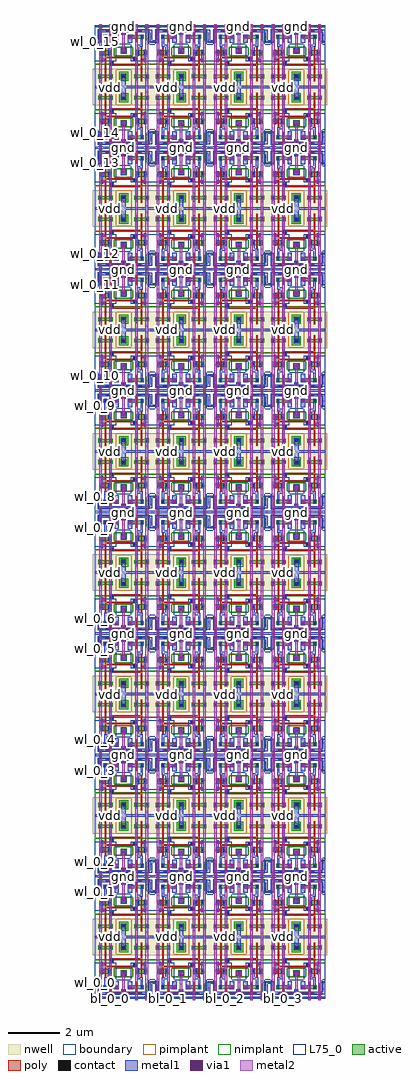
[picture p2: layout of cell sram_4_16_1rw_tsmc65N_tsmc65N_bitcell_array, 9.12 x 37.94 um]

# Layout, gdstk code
import gdstk
lib = gdstk.Library(unit=1e-6, precision=1e-09)
def R(c, l, rs):  # rectangles x0, y0, x1, y1
    for r in rs: c.add(gdstk.rectangle(r[:2], r[2:], *l))
def A(c, l, x, y, w, h, nx, ny, dx, dy):  # array of equal rectangles
    R(c, l, [(x+i*dx, y+j*dy, x+i*dx+w, y+j*dy+h) for i in range(nx) for j in range(ny)])
def P(c, l, *ps):  # polygons
    for p in ps: c.add(gdstk.Polygon(p, *l))
nwell = (3, 0)
active = (6, 0)
poly = (17, 0)
pimplant = (25, 0)
nimplant = (26, 0)
contact = (30, 0)
metal1 = (31, 0)
metal2 = (32, 0)
via1 = (51, 0)
L75_0 = (75, 0)
boundary = (108, 0)

cell_1rw = lib.new_cell('cell_1rw')
R(cell_1rw, nwell, [(-0.08,1.65,0.92,2.24), (0.885,1.65,1.355,2.24), (1.32,1.65,2.32,2.24), (0.885,1.71,1.355,2.18), (-0.08,2.24,2.32,2.36)])
A(cell_1rw, active, 0.55, 1.87, 0.15, 0.15, 3, 1, 0.495, 0)
R(cell_1rw, active, [(0.34,0.33,0.49,0.48), (0.75,0.33,0.9,0.48), (1.34,0.33,1.49,0.48), (1.75,0.33,1.9,0.48), (0.34,0.34,0.59,0.475), (0.59,0.34,0.65,0.475), (0.65,0.34,0.9,0.475), (1.34,0.34,1.59,0.475), (1.59,0.34,1.65,0.475), (1.65,0.34,1.9,0.475), (1.005,0.835,1.24,1.07), (1.035,0.865,1.205,1.035), (0.215,0.925,0.39,1.13), (0.39,0.925,0.45,1.13), (0.45,0.925,0.625,1.13), (1.615,0.925,1.79,1.13), (1.79,0.925,1.85,1.13), (1.85,0.925,2.025,1.13), (1.005,1.825,1.24,2.06), (0.14,1.86,0.29,1.87), (0.155,1.86,0.275,2.03), (1.95,1.86,2.1,1.87), (1.965,1.86,2.085,2.03), (0.14,1.87,0.29,2.02), (1.95,1.87,2.1,2.02), (0.14,1.885,0.39,2.005), (0.39,1.885,0.45,2.005), (0.45,1.885,0.7,2.005), (1.54,1.885,1.79,2.005), (1.79,1.885,1.85,2.005), (1.85,1.885,2.1,2.005), (0.14,2.02,0.29,2.03), (1.95,2.02,2.1,2.03)])
R(cell_1rw, poly, [(0.42,0.155,1.82,0.215), (1.03,0.155,1.2,0.325), (0.59,0.2,0.65,0.34), (1.59,0.2,1.65,0.34), (0.59,0.34,0.65,0.475), (1.59,0.34,1.65,0.475), (0.59,0.475,0.65,0.615), (1.59,0.475,1.65,0.615), (0.39,0.785,0.45,0.925), (1.79,0.785,1.85,0.925), (0.39,0.925,0.45,1.13), (1.79,0.925,1.85,1.13), (0.39,1.13,0.45,1.27), (1.79,1.13,1.85,1.27), (0.39,1.18,1.57,1.24), (1.475,1.18,1.645,1.35), (0.39,1.25,0.45,1.985), (1.79,1.27,1.85,1.985), (0.57,1.36,0.74,1.53), (1.79,1.425,1.85,1.485), (0.67,1.47,1.85,1.53), (0.39,1.745,0.45,1.885), (1.79,1.745,1.85,1.885), (0.39,1.885,0.45,2.005), (1.79,1.885,1.85,2.005), (0.39,2.005,0.45,2.145), (1.79,2.005,1.85,2.145)])
R(cell_1rw, pimplant, [(0.755,0.815,1.485,1.14), (1.015,0.845,1.225,1.055), (0.01,1.47,2.25,1.68), (0.01,1.545,0.83,2.345), (1.41,1.545,2.23,2.345), (2.23,1.545,2.25,2.345), (0.01,2.345,0.83,2.36), (1.41,2.345,2.25,2.36)])
R(cell_1rw, nimplant, [(0.21,0,1.03,0.815), (1.03,0,1.21,0.815), (1.21,0,2.03,0.815), (0,0.585,0.085,1.47), (0.085,0.585,0.755,1.47), (1.485,0.585,2.155,1.47), (2.155,0.585,2.24,1.47), (0.74,1.14,1.645,1.47), (0.945,1.77,1.295,2.12), (1.025,1.85,1.215,2.04), (1.025,1.85,1.215,2.04)])
A(cell_1rw, contact, 0.58, 1.9, 0.09, 0.09, 3, 1, 0.495, 0)
R(cell_1rw, contact, [(1.07,0.195,1.16,0.285), (0.37,0.365,0.46,0.455), (0.78,0.365,0.87,0.455), (1.37,0.365,1.46,0.455), (1.78,0.365,1.87,0.455), (1.075,0.905,1.165,0.995), (0.245,0.98,0.335,1.07), (0.505,0.98,0.595,1.07), (1.645,0.98,1.735,1.07), (1.905,0.98,1.995,1.07), (1.515,1.22,1.605,1.31), (0.61,1.4,0.7,1.49), (0.17,1.9,0.26,1.99), (0.17,1.9,0.26,1.99), (1.98,1.9,2.07,1.99), (1.98,1.9,2.07,1.99)])
A(cell_1rw, metal1, 0.13, -0.05, 0.18, 0.1, 3, 1, 0.9, 0)
R(cell_1rw, metal1, [(0,-0.045,0.09,0.045), (0,-0.045,2.24,0.045), (0,-0.045,2.24,0.045), (2.15,0.14,2.24,0.23), (1.03,0.155,1.2,0.325), (0.775,0.32,0.94,0.645), (0.775,0.32,0.875,0.5), (1.29,0.32,1.465,0.645), (1.365,0.32,1.465,0.5), (0.37,0.325,0.46,0.495), (0.78,0.325,0.87,0.495), (1.37,0.325,1.46,0.495), (1.78,0.325,1.87,0.495), (0,0.545,0.065,0.635), (0,0.545,0.065,0.635), (1.015,0.845,1.225,1.055), (1.07,0.86,1.17,1.04), (0.24,0.915,0.34,1.355), (0.245,0.915,0.335,1.14), (0.505,0.915,0.595,1.14), (0.58,0.915,0.67,2.01), (1.57,0.915,1.66,2.1), (1.645,0.915,1.735,1.14), (1.905,0.915,1.995,1.14), (0.24,0.935,0.34,1.115), (1.905,1.14,1.995,1.355), (1.475,1.18,1.645,1.35), (0.24,1.22,0.34,1.4), (1.9,1.22,2,1.4), (0.57,1.36,0.74,1.53), (0.17,1.86,0.26,2.03), (0.17,1.86,0.26,2.03), (0.17,1.86,0.27,2.41), (0.58,1.86,0.67,2.03), (1.035,1.86,1.205,2.03), (1.57,1.86,1.66,2.03), (1.98,1.86,2.07,2.03), (1.98,1.86,2.07,2.03), (1.035,1.97,1.205,2.41), (0,2.31,1.205,2.41), (0,2.31,1.205,2.41), (1.97,2.31,2.24,2.41), (0,2.315,0.09,2.405)])
P(cell_1rw, metal1, [(0.065,0.545),(0.15,0.545),(0.15,0.14),(2.24,0.14),(2.24,0.635),(2.15,0.635),(2.15,0.23),(0.24,0.23),(0.24,0.635),(0.065,0.635)],
  [(0.46,0.495),(0.46,0.71),(0.595,0.71),(0.595,0.915),(0.505,0.915),(0.505,0.8),(0.37,0.8),(0.37,0.495)],
  [(1.035,2.31),(1.97,2.31),(1.97,1.86),(2.07,1.86),(2.07,2.41),(1.035,2.41)],
  [(1.645,0.915),(1.645,0.71),(1.78,0.71),(1.78,0.495),(1.87,0.495),(1.87,0.8),(1.735,0.8),(1.735,0.915)])
A(cell_1rw, metal2, 0.17, -0.09, 0.1, 0.18, 3, 1, 0.9, 0)
R(cell_1rw, metal2, [(0.17,-0.09,0.27,2.41), (0.57,-0.09,0.67,0.01), (0.57,-0.09,0.67,0.01), (1.07,-0.09,1.17,0.91), (1.57,-0.09,1.67,0.01), (1.57,-0.09,1.67,0.46), (1.57,-0.09,1.67,0.46), (1.97,-0.09,2.07,1.075), (0.57,0.36,0.67,2.41), (0.735,0.36,0.915,0.46), (1.325,0.36,1.505,0.46), (1.07,0.85,1.17,0.91), (1.03,0.9,1.21,1), (0.2,0.975,0.38,1.075), (0.2,1.26,0.38,1.36), (1.86,1.26,2.04,1.36)])
P(cell_1rw, metal2, [(0.67,-0.09),(0.67,0.36),(0.825,0.36),(0.825,0.46),(0.57,0.46),(0.57,-0.09)],
  [(1.415,0.36),(1.67,0.36),(1.67,2.41),(1.57,2.41),(1.57,0.46),(1.415,0.46)],
  [(1.985,0.975),(2.07,0.975),(2.07,2.41),(1.97,2.41),(1.97,1.075),(1.985,1.075)])
A(cell_1rw, via1, 0.17, -0.05, 0.1, 0.1, 3, 1, 0.9, 0)
R(cell_1rw, via1, [(0.775,0.36,0.875,0.46), (1.365,0.36,1.465,0.46), (1.07,0.9,1.17,1), (0.24,0.975,0.34,1.075), (0.24,1.26,0.34,1.36), (1.9,1.26,2,1.36)])
R(cell_1rw, L75_0, [(0.12,0.115,1.12,0.705), (1.12,0.115,2.12,0.705), (-0.005,0.705,0.845,1.35), (1.395,0.705,2.245,1.35), (1.015,0.845,1.225,1.055)])
R(cell_1rw, boundary, [(0,0,2.24,2.36)])
cell_1rw.add(gdstk.Label('wl', (0.01,0.585), layer=31, texttype=0))
cell_1rw.add(gdstk.Label('gnd', (0.045,0), layer=31, texttype=0))
cell_1rw.add(gdstk.Label('vdd', (0.045,2.36), layer=31, texttype=0))
cell_1rw.add(gdstk.Label('[@instanceName]', (0.42,1.945), layer=127, texttype=0))
cell_1rw.add(gdstk.Label('pch\n0.12/0.06\n', (0.39,1.885), layer=127, texttype=0))
cell_1rw.add(gdstk.Label('D', (0.625,1.945), layer=127, texttype=0))
cell_1rw.add(gdstk.Label('S', (0.215,1.945), layer=127, texttype=0))
cell_1rw.add(gdstk.Label('[@instanceName]', (1.82,1.945), layer=127, texttype=0))
cell_1rw.add(gdstk.Label('pch\n0.12/0.06\n', (1.85,1.885), layer=127, texttype=0))
cell_1rw.add(gdstk.Label('D', (1.615,1.945), layer=127, texttype=0))
cell_1rw.add(gdstk.Label('S', (2.025,1.945), layer=127, texttype=0))
cell_1rw.add(gdstk.Label('[@instanceName]', (1.62,0.407), layer=127, texttype=0))
cell_1rw.add(gdstk.Label('nch\n0.135/0.06\n', (1.65,0.34), layer=127, texttype=0))
cell_1rw.add(gdstk.Label('D', (1.415,0.41), layer=127, texttype=0))
cell_1rw.add(gdstk.Label('S', (1.825,0.41), layer=127, texttype=0))
cell_1rw.add(gdstk.Label('[@instanceName]', (0.62,0.407), layer=127, texttype=0))
cell_1rw.add(gdstk.Label('nch\n0.135/0.06\n', (0.59,0.34), layer=127, texttype=0))
cell_1rw.add(gdstk.Label('D', (0.825,0.41), layer=127, texttype=0))
cell_1rw.add(gdstk.Label('S', (0.415,0.41), layer=127, texttype=0))
cell_1rw.add(gdstk.Label('[@instanceName]', (0.42,1.027), layer=127, texttype=0))
cell_1rw.add(gdstk.Label('nch\n0.205/0.06\n', (0.39,0.925), layer=127, texttype=0))
cell_1rw.add(gdstk.Label('D', (0.55,1.027), layer=127, texttype=0))
cell_1rw.add(gdstk.Label('S', (0.29,1.027), layer=127, texttype=0))
cell_1rw.add(gdstk.Label('[@instanceName]', (1.82,1.027), layer=127, texttype=0))
cell_1rw.add(gdstk.Label('nch\n0.205/0.06\n', (1.85,0.925), layer=127, texttype=0))
cell_1rw.add(gdstk.Label('D', (1.69,1.027), layer=127, texttype=0))
cell_1rw.add(gdstk.Label('S', (1.95,1.027), layer=127, texttype=0))
cell_1rw.add(gdstk.Label('& SerialNumber 000000', (0.39,1.885), layer=63, texttype=63))
cell_1rw.add(gdstk.Label('& Distributor TSMC', (0.39,1.885), layer=63, texttype=63))
cell_1rw.add(gdstk.Label('& Metric 1', (0.39,1.885), layer=63, texttype=63))
cell_1rw.add(gdstk.Label('& PDK Version "tsmcN65_DTQ::RWg\\177;oCnm~vw{v}v\\202_20120815"', (0.39,1.885), layer=63, texttype=63))
cell_1rw.add(gdstk.Label('& PDK TechNode "CRN65LP"', (0.39,1.885), layer=63, texttype=63))
cell_1rw.add(gdstk.Label('& Product    tsmcN65_PDK', (0.39,1.885), layer=63, texttype=63))
cell_1rw.add(gdstk.Label('& Vendor     Taiwan Semiconductor manufacturing Corp.', (0.39,1.885), layer=63, texttype=63))
cell_1rw.add(gdstk.Label('& SerialNumber 000000', (1.85,1.885), layer=63, texttype=63))
cell_1rw.add(gdstk.Label('& Distributor TSMC', (1.85,1.885), layer=63, texttype=63))
cell_1rw.add(gdstk.Label('& Metric 1', (1.85,1.885), layer=63, texttype=63))
cell_1rw.add(gdstk.Label('& PDK Version "tsmcN65_DTQ::RWg\\177;oCnm~vw{v}v\\202_20120815"', (1.85,1.885), layer=63, texttype=63))
cell_1rw.add(gdstk.Label('& PDK TechNode "CRN65LP"', (1.85,1.885), layer=63, texttype=63))
cell_1rw.add(gdstk.Label('& Product    tsmcN65_PDK', (1.85,1.885), layer=63, texttype=63))
cell_1rw.add(gdstk.Label('& Vendor     Taiwan Semiconductor manufacturing Corp.', (1.85,1.885), layer=63, texttype=63))
cell_1rw.add(gdstk.Label('& SerialNumber 000000', (1.65,0.34), layer=63, texttype=63))
cell_1rw.add(gdstk.Label('& Distributor TSMC', (1.65,0.34), layer=63, texttype=63))
cell_1rw.add(gdstk.Label('& Metric 1', (1.65,0.34), layer=63, texttype=63))
cell_1rw.add(gdstk.Label('& PDK Version "tsmcN65_DTQ::RWg\\177;oCnm~vw{v}v\\202_20120815"', (1.65,0.34), layer=63, texttype=63))
cell_1rw.add(gdstk.Label('& PDK TechNode "CRN65LP"', (1.65,0.34), layer=63, texttype=63))
cell_1rw.add(gdstk.Label('& Product    tsmcN65_PDK', (1.65,0.34), layer=63, texttype=63))
cell_1rw.add(gdstk.Label('& Vendor     Taiwan Semiconductor manufacturing Corp.', (1.65,0.34), layer=63, texttype=63))
cell_1rw.add(gdstk.Label('& SerialNumber 000000', (0.59,0.34), layer=63, texttype=63))
cell_1rw.add(gdstk.Label('& Distributor TSMC', (0.59,0.34), layer=63, texttype=63))
cell_1rw.add(gdstk.Label('& Metric 1', (0.59,0.34), layer=63, texttype=63))
cell_1rw.add(gdstk.Label('& PDK Version "tsmcN65_DTQ::RWg\\177;oCnm~vw{v}v\\202_20120815"', (0.59,0.34), layer=63, texttype=63))
cell_1rw.add(gdstk.Label('& PDK TechNode "CRN65LP"', (0.59,0.34), layer=63, texttype=63))
cell_1rw.add(gdstk.Label('& Product    tsmcN65_PDK', (0.59,0.34), layer=63, texttype=63))
cell_1rw.add(gdstk.Label('& Vendor     Taiwan Semiconductor manufacturing Corp.', (0.59,0.34), layer=63, texttype=63))
cell_1rw.add(gdstk.Label('& SerialNumber 000000', (0.39,0.925), layer=63, texttype=63))
cell_1rw.add(gdstk.Label('& Distributor TSMC', (0.39,0.925), layer=63, texttype=63))
cell_1rw.add(gdstk.Label('& Metric 1', (0.39,0.925), layer=63, texttype=63))
cell_1rw.add(gdstk.Label('& PDK Version "tsmcN65_DTQ::RWg\\177;oCnm~vw{v}v\\202_20120815"', (0.39,0.925), layer=63, texttype=63))
cell_1rw.add(gdstk.Label('& PDK TechNode "CRN65LP"', (0.39,0.925), layer=63, texttype=63))
cell_1rw.add(gdstk.Label('& Product    tsmcN65_PDK', (0.39,0.925), layer=63, texttype=63))
cell_1rw.add(gdstk.Label('& Vendor     Taiwan Semiconductor manufacturing Corp.', (0.39,0.925), layer=63, texttype=63))
cell_1rw.add(gdstk.Label('& SerialNumber 000000', (1.85,0.925), layer=63, texttype=63))
cell_1rw.add(gdstk.Label('& Distributor TSMC', (1.85,0.925), layer=63, texttype=63))
cell_1rw.add(gdstk.Label('& Metric 1', (1.85,0.925), layer=63, texttype=63))
cell_1rw.add(gdstk.Label('& PDK Version "tsmcN65_DTQ::RWg\\177;oCnm~vw{v}v\\202_20120815"', (1.85,0.925), layer=63, texttype=63))
cell_1rw.add(gdstk.Label('& PDK TechNode "CRN65LP"', (1.85,0.925), layer=63, texttype=63))
cell_1rw.add(gdstk.Label('& Product    tsmcN65_PDK', (1.85,0.925), layer=63, texttype=63))
cell_1rw.add(gdstk.Label('& Vendor     Taiwan Semiconductor manufacturing Corp.', (1.85,0.925), layer=63, texttype=63))
cell_1rw.add(gdstk.Label('bl', (0.62,-0.04), layer=32, texttype=0))
cell_1rw.add(gdstk.Label('br', (1.62,-0.04), layer=32, texttype=0))
cell_1rw.add(gdstk.Label('bl', (0.62,-0.04), layer=32, texttype=0))
cell_1rw.add(gdstk.Label('br', (1.62,0.185), layer=32, texttype=0))
cell_1rw.add(gdstk.Label('wl', (0.032,0.59), layer=31, texttype=0))
cell_1rw.add(gdstk.Label('vdd', (0.602,2.36), layer=31, texttype=0))
cell_1rw.add(gdstk.Label('gnd', (1.12,0), layer=31, texttype=0))

sram_4_16_1rw_tsmc65n_ts = lib.new_cell('sram_4_16_1rw_tsmc65N_tsmc65N_bitcell_array')
A(sram_4_16_1rw_tsmc65n_ts, metal1, 0, -0.045, 2.24, 0.09, 4, 9, 2.24, 4.72)
A(sram_4_16_1rw_tsmc65n_ts, metal1, 0, 2.31, 1.205, 0.1, 4, 8, 2.24, 4.72)
R(sram_4_16_1rw_tsmc65n_ts, metal1, [(0,0.545,0.065,0.635), (0,4.085,0.065,4.175), (0,5.265,0.065,5.355), (0,8.805,0.065,8.895), (0,9.985,0.065,10.075), (0,13.525,0.065,13.615), (0,14.705,0.065,14.795), (0,18.245,0.065,18.335), (0,19.425,0.065,19.515), (0,22.965,0.065,23.055), (0,24.145,0.065,24.235), (0,27.685,0.065,27.775), (0,28.865,0.065,28.955), (0,32.405,0.065,32.495), (0,33.585,0.065,33.675), (0,37.125,0.065,37.215)])
A(sram_4_16_1rw_tsmc65n_ts, metal2, 0.57, -0.09, 0.1, 0.1, 4, 1, 2.24, 0)
A(sram_4_16_1rw_tsmc65n_ts, metal2, 1.57, -0.09, 0.1, 0.55, 4, 1, 2.24, 0)
R(sram_4_16_1rw_tsmc65n_ts, boundary, [(0,0,8.96,37.76)])
sram_4_16_1rw_tsmc65n_ts.add(gdstk.Reference(cell_1rw, (0,0)))
sram_4_16_1rw_tsmc65n_ts.add(gdstk.Reference(cell_1rw, (0,4.72), x_reflection=True))
sram_4_16_1rw_tsmc65n_ts.add(gdstk.Reference(cell_1rw, (0,4.72)))
sram_4_16_1rw_tsmc65n_ts.add(gdstk.Reference(cell_1rw, (0,9.44), x_reflection=True))
sram_4_16_1rw_tsmc65n_ts.add(gdstk.Reference(cell_1rw, (0,9.44)))
sram_4_16_1rw_tsmc65n_ts.add(gdstk.Reference(cell_1rw, (0,14.16), x_reflection=True))
sram_4_16_1rw_tsmc65n_ts.add(gdstk.Reference(cell_1rw, (0,14.16)))
sram_4_16_1rw_tsmc65n_ts.add(gdstk.Reference(cell_1rw, (0,18.88), x_reflection=True))
sram_4_16_1rw_tsmc65n_ts.add(gdstk.Reference(cell_1rw, (0,18.88)))
sram_4_16_1rw_tsmc65n_ts.add(gdstk.Reference(cell_1rw, (0,23.6), x_reflection=True))
sram_4_16_1rw_tsmc65n_ts.add(gdstk.Reference(cell_1rw, (0,23.6)))
sram_4_16_1rw_tsmc65n_ts.add(gdstk.Reference(cell_1rw, (0,28.32), x_reflection=True))
sram_4_16_1rw_tsmc65n_ts.add(gdstk.Reference(cell_1rw, (0,28.32)))
sram_4_16_1rw_tsmc65n_ts.add(gdstk.Reference(cell_1rw, (0,33.04), x_reflection=True))
sram_4_16_1rw_tsmc65n_ts.add(gdstk.Reference(cell_1rw, (0,33.04)))
sram_4_16_1rw_tsmc65n_ts.add(gdstk.Reference(cell_1rw, (0,37.76), x_reflection=True))
sram_4_16_1rw_tsmc65n_ts.add(gdstk.Reference(cell_1rw, (2.24,0)))
sram_4_16_1rw_tsmc65n_ts.add(gdstk.Reference(cell_1rw, (2.24,4.72), x_reflection=True))
sram_4_16_1rw_tsmc65n_ts.add(gdstk.Reference(cell_1rw, (2.24,4.72)))
sram_4_16_1rw_tsmc65n_ts.add(gdstk.Reference(cell_1rw, (2.24,9.44), x_reflection=True))
sram_4_16_1rw_tsmc65n_ts.add(gdstk.Reference(cell_1rw, (2.24,9.44)))
sram_4_16_1rw_tsmc65n_ts.add(gdstk.Reference(cell_1rw, (2.24,14.16), x_reflection=True))
sram_4_16_1rw_tsmc65n_ts.add(gdstk.Reference(cell_1rw, (2.24,14.16)))
sram_4_16_1rw_tsmc65n_ts.add(gdstk.Reference(cell_1rw, (2.24,18.88), x_reflection=True))
sram_4_16_1rw_tsmc65n_ts.add(gdstk.Reference(cell_1rw, (2.24,18.88)))
sram_4_16_1rw_tsmc65n_ts.add(gdstk.Reference(cell_1rw, (2.24,23.6), x_reflection=True))
sram_4_16_1rw_tsmc65n_ts.add(gdstk.Reference(cell_1rw, (2.24,23.6)))
sram_4_16_1rw_tsmc65n_ts.add(gdstk.Reference(cell_1rw, (2.24,28.32), x_reflection=True))
sram_4_16_1rw_tsmc65n_ts.add(gdstk.Reference(cell_1rw, (2.24,28.32)))
sram_4_16_1rw_tsmc65n_ts.add(gdstk.Reference(cell_1rw, (2.24,33.04), x_reflection=True))
sram_4_16_1rw_tsmc65n_ts.add(gdstk.Reference(cell_1rw, (2.24,33.04)))
sram_4_16_1rw_tsmc65n_ts.add(gdstk.Reference(cell_1rw, (2.24,37.76), x_reflection=True))
sram_4_16_1rw_tsmc65n_ts.add(gdstk.Reference(cell_1rw, (4.48,0)))
sram_4_16_1rw_tsmc65n_ts.add(gdstk.Reference(cell_1rw, (4.48,4.72), x_reflection=True))
sram_4_16_1rw_tsmc65n_ts.add(gdstk.Reference(cell_1rw, (4.48,4.72)))
sram_4_16_1rw_tsmc65n_ts.add(gdstk.Reference(cell_1rw, (4.48,9.44), x_reflection=True))
sram_4_16_1rw_tsmc65n_ts.add(gdstk.Reference(cell_1rw, (4.48,9.44)))
sram_4_16_1rw_tsmc65n_ts.add(gdstk.Reference(cell_1rw, (4.48,14.16), x_reflection=True))
sram_4_16_1rw_tsmc65n_ts.add(gdstk.Reference(cell_1rw, (4.48,14.16)))
sram_4_16_1rw_tsmc65n_ts.add(gdstk.Reference(cell_1rw, (4.48,18.88), x_reflection=True))
sram_4_16_1rw_tsmc65n_ts.add(gdstk.Reference(cell_1rw, (4.48,18.88)))
sram_4_16_1rw_tsmc65n_ts.add(gdstk.Reference(cell_1rw, (4.48,23.6), x_reflection=True))
sram_4_16_1rw_tsmc65n_ts.add(gdstk.Reference(cell_1rw, (4.48,23.6)))
sram_4_16_1rw_tsmc65n_ts.add(gdstk.Reference(cell_1rw, (4.48,28.32), x_reflection=True))
sram_4_16_1rw_tsmc65n_ts.add(gdstk.Reference(cell_1rw, (4.48,28.32)))
sram_4_16_1rw_tsmc65n_ts.add(gdstk.Reference(cell_1rw, (4.48,33.04), x_reflection=True))
sram_4_16_1rw_tsmc65n_ts.add(gdstk.Reference(cell_1rw, (4.48,33.04)))
sram_4_16_1rw_tsmc65n_ts.add(gdstk.Reference(cell_1rw, (4.48,37.76), x_reflection=True))
sram_4_16_1rw_tsmc65n_ts.add(gdstk.Reference(cell_1rw, (6.72,0)))
sram_4_16_1rw_tsmc65n_ts.add(gdstk.Reference(cell_1rw, (6.72,4.72), x_reflection=True))
sram_4_16_1rw_tsmc65n_ts.add(gdstk.Reference(cell_1rw, (6.72,4.72)))
sram_4_16_1rw_tsmc65n_ts.add(gdstk.Reference(cell_1rw, (6.72,9.44), x_reflection=True))
sram_4_16_1rw_tsmc65n_ts.add(gdstk.Reference(cell_1rw, (6.72,9.44)))
sram_4_16_1rw_tsmc65n_ts.add(gdstk.Reference(cell_1rw, (6.72,14.16), x_reflection=True))
sram_4_16_1rw_tsmc65n_ts.add(gdstk.Reference(cell_1rw, (6.72,14.16)))
sram_4_16_1rw_tsmc65n_ts.add(gdstk.Reference(cell_1rw, (6.72,18.88), x_reflection=True))
sram_4_16_1rw_tsmc65n_ts.add(gdstk.Reference(cell_1rw, (6.72,18.88)))
sram_4_16_1rw_tsmc65n_ts.add(gdstk.Reference(cell_1rw, (6.72,23.6), x_reflection=True))
sram_4_16_1rw_tsmc65n_ts.add(gdstk.Reference(cell_1rw, (6.72,23.6)))
sram_4_16_1rw_tsmc65n_ts.add(gdstk.Reference(cell_1rw, (6.72,28.32), x_reflection=True))
sram_4_16_1rw_tsmc65n_ts.add(gdstk.Reference(cell_1rw, (6.72,28.32)))
sram_4_16_1rw_tsmc65n_ts.add(gdstk.Reference(cell_1rw, (6.72,33.04), x_reflection=True))
sram_4_16_1rw_tsmc65n_ts.add(gdstk.Reference(cell_1rw, (6.72,33.04)))
sram_4_16_1rw_tsmc65n_ts.add(gdstk.Reference(cell_1rw, (6.72,37.76), x_reflection=True))
sram_4_16_1rw_tsmc65n_ts.add(gdstk.Label('wl_0_0', (0.032,0.59), layer=31, texttype=0))
sram_4_16_1rw_tsmc65n_ts.add(gdstk.Label('wl_0_1', (0.032,4.13), layer=31, texttype=0))
sram_4_16_1rw_tsmc65n_ts.add(gdstk.Label('wl_0_2', (0.032,5.31), layer=31, texttype=0))
sram_4_16_1rw_tsmc65n_ts.add(gdstk.Label('wl_0_3', (0.032,8.85), layer=31, texttype=0))
sram_4_16_1rw_tsmc65n_ts.add(gdstk.Label('wl_0_4', (0.032,10.03), layer=31, texttype=0))
sram_4_16_1rw_tsmc65n_ts.add(gdstk.Label('wl_0_5', (0.032,13.57), layer=31, texttype=0))
sram_4_16_1rw_tsmc65n_ts.add(gdstk.Label('wl_0_6', (0.032,14.75), layer=31, texttype=0))
sram_4_16_1rw_tsmc65n_ts.add(gdstk.Label('wl_0_7', (0.032,18.29), layer=31, texttype=0))
sram_4_16_1rw_tsmc65n_ts.add(gdstk.Label('wl_0_8', (0.032,19.47), layer=31, texttype=0))
sram_4_16_1rw_tsmc65n_ts.add(gdstk.Label('wl_0_9', (0.032,23.01), layer=31, texttype=0))
sram_4_16_1rw_tsmc65n_ts.add(gdstk.Label('wl_0_10', (0.032,24.19), layer=31, texttype=0))
sram_4_16_1rw_tsmc65n_ts.add(gdstk.Label('wl_0_11', (0.032,27.73), layer=31, texttype=0))
sram_4_16_1rw_tsmc65n_ts.add(gdstk.Label('wl_0_12', (0.032,28.91), layer=31, texttype=0))
sram_4_16_1rw_tsmc65n_ts.add(gdstk.Label('wl_0_13', (0.032,32.45), layer=31, texttype=0))
sram_4_16_1rw_tsmc65n_ts.add(gdstk.Label('wl_0_14', (0.032,33.63), layer=31, texttype=0))
sram_4_16_1rw_tsmc65n_ts.add(gdstk.Label('wl_0_15', (0.032,37.17), layer=31, texttype=0))
sram_4_16_1rw_tsmc65n_ts.add(gdstk.Label('bl_0_0', (0.62,-0.04), layer=32, texttype=0))
sram_4_16_1rw_tsmc65n_ts.add(gdstk.Label('br_0_0', (1.62,0.185), layer=32, texttype=0))
sram_4_16_1rw_tsmc65n_ts.add(gdstk.Label('bl_0_1', (2.86,-0.04), layer=32, texttype=0))
sram_4_16_1rw_tsmc65n_ts.add(gdstk.Label('br_0_1', (3.86,0.185), layer=32, texttype=0))
sram_4_16_1rw_tsmc65n_ts.add(gdstk.Label('bl_0_2', (5.1,-0.04), layer=32, texttype=0))
sram_4_16_1rw_tsmc65n_ts.add(gdstk.Label('br_0_2', (6.1,0.185), layer=32, texttype=0))
sram_4_16_1rw_tsmc65n_ts.add(gdstk.Label('bl_0_3', (7.34,-0.04), layer=32, texttype=0))
sram_4_16_1rw_tsmc65n_ts.add(gdstk.Label('br_0_3', (8.34,0.185), layer=32, texttype=0))
sram_4_16_1rw_tsmc65n_ts.add(gdstk.Label('vdd', (7.322,30.68), layer=31, texttype=0))
sram_4_16_1rw_tsmc65n_ts.add(gdstk.Label('vdd', (5.083,35.4), layer=31, texttype=0))
sram_4_16_1rw_tsmc65n_ts.add(gdstk.Label('vdd', (7.322,21.24), layer=31, texttype=0))
sram_4_16_1rw_tsmc65n_ts.add(gdstk.Label('vdd', (2.843,30.68), layer=31, texttype=0))
sram_4_16_1rw_tsmc65n_ts.add(gdstk.Label('vdd', (7.322,25.96), layer=31, texttype=0))
sram_4_16_1rw_tsmc65n_ts.add(gdstk.Label('vdd', (5.083,11.8), layer=31, texttype=0))
sram_4_16_1rw_tsmc65n_ts.add(gdstk.Label('vdd', (5.083,30.68), layer=31, texttype=0))
sram_4_16_1rw_tsmc65n_ts.add(gdstk.Label('vdd', (7.322,16.52), layer=31, texttype=0))
sram_4_16_1rw_tsmc65n_ts.add(gdstk.Label('vdd', (2.843,11.8), layer=31, texttype=0))
sram_4_16_1rw_tsmc65n_ts.add(gdstk.Label('vdd', (5.083,2.36), layer=31, texttype=0))
sram_4_16_1rw_tsmc65n_ts.add(gdstk.Label('vdd', (0.602,7.08), layer=31, texttype=0))
sram_4_16_1rw_tsmc65n_ts.add(gdstk.Label('vdd', (2.843,25.96), layer=31, texttype=0))
sram_4_16_1rw_tsmc65n_ts.add(gdstk.Label('vdd', (7.322,7.08), layer=31, texttype=0))
sram_4_16_1rw_tsmc65n_ts.add(gdstk.Label('vdd', (2.843,21.24), layer=31, texttype=0))
sram_4_16_1rw_tsmc65n_ts.add(gdstk.Label('vdd', (0.602,2.36), layer=31, texttype=0))
sram_4_16_1rw_tsmc65n_ts.add(gdstk.Label('vdd', (5.083,21.24), layer=31, texttype=0))
sram_4_16_1rw_tsmc65n_ts.add(gdstk.Label('vdd', (7.322,2.36), layer=31, texttype=0))
sram_4_16_1rw_tsmc65n_ts.add(gdstk.Label('vdd', (0.602,30.68), layer=31, texttype=0))
sram_4_16_1rw_tsmc65n_ts.add(gdstk.Label('vdd', (2.843,35.4), layer=31, texttype=0))
sram_4_16_1rw_tsmc65n_ts.add(gdstk.Label('vdd', (0.602,16.52), layer=31, texttype=0))
sram_4_16_1rw_tsmc65n_ts.add(gdstk.Label('vdd', (0.602,25.96), layer=31, texttype=0))
sram_4_16_1rw_tsmc65n_ts.add(gdstk.Label('vdd', (5.083,7.08), layer=31, texttype=0))
sram_4_16_1rw_tsmc65n_ts.add(gdstk.Label('vdd', (0.602,35.4), layer=31, texttype=0))
sram_4_16_1rw_tsmc65n_ts.add(gdstk.Label('vdd', (2.843,2.36), layer=31, texttype=0))
sram_4_16_1rw_tsmc65n_ts.add(gdstk.Label('vdd', (5.083,25.96), layer=31, texttype=0))
sram_4_16_1rw_tsmc65n_ts.add(gdstk.Label('vdd', (5.083,16.52), layer=31, texttype=0))
sram_4_16_1rw_tsmc65n_ts.add(gdstk.Label('vdd', (2.843,16.52), layer=31, texttype=0))
sram_4_16_1rw_tsmc65n_ts.add(gdstk.Label('vdd', (7.322,35.4), layer=31, texttype=0))
sram_4_16_1rw_tsmc65n_ts.add(gdstk.Label('vdd', (0.602,21.24), layer=31, texttype=0))
sram_4_16_1rw_tsmc65n_ts.add(gdstk.Label('vdd', (7.322,11.8), layer=31, texttype=0))
sram_4_16_1rw_tsmc65n_ts.add(gdstk.Label('vdd', (0.602,11.8), layer=31, texttype=0))
sram_4_16_1rw_tsmc65n_ts.add(gdstk.Label('vdd', (2.843,7.08), layer=31, texttype=0))
sram_4_16_1rw_tsmc65n_ts.add(gdstk.Label('gnd', (3.36,0), layer=31, texttype=0))
sram_4_16_1rw_tsmc65n_ts.add(gdstk.Label('gnd', (1.12,37.76), layer=31, texttype=0))
sram_4_16_1rw_tsmc65n_ts.add(gdstk.Label('gnd', (7.84,0), layer=31, texttype=0))
sram_4_16_1rw_tsmc65n_ts.add(gdstk.Label('gnd', (1.12,14.16), layer=31, texttype=0))
sram_4_16_1rw_tsmc65n_ts.add(gdstk.Label('gnd', (3.36,18.88), layer=31, texttype=0))
sram_4_16_1rw_tsmc65n_ts.add(gdstk.Label('gnd', (7.84,37.76), layer=31, texttype=0))
sram_4_16_1rw_tsmc65n_ts.add(gdstk.Label('gnd', (7.84,9.44), layer=31, texttype=0))
sram_4_16_1rw_tsmc65n_ts.add(gdstk.Label('gnd', (3.36,23.6), layer=31, texttype=0))
sram_4_16_1rw_tsmc65n_ts.add(gdstk.Label('gnd', (5.6,9.44), layer=31, texttype=0))
sram_4_16_1rw_tsmc65n_ts.add(gdstk.Label('gnd', (5.6,0), layer=31, texttype=0))
sram_4_16_1rw_tsmc65n_ts.add(gdstk.Label('gnd', (7.84,4.72), layer=31, texttype=0))
sram_4_16_1rw_tsmc65n_ts.add(gdstk.Label('gnd', (1.12,0), layer=31, texttype=0))
sram_4_16_1rw_tsmc65n_ts.add(gdstk.Label('gnd', (3.36,4.72), layer=31, texttype=0))
sram_4_16_1rw_tsmc65n_ts.add(gdstk.Label('gnd', (5.6,28.32), layer=31, texttype=0))
sram_4_16_1rw_tsmc65n_ts.add(gdstk.Label('gnd', (3.36,28.32), layer=31, texttype=0))
sram_4_16_1rw_tsmc65n_ts.add(gdstk.Label('gnd', (5.6,37.76), layer=31, texttype=0))
sram_4_16_1rw_tsmc65n_ts.add(gdstk.Label('gnd', (3.36,9.44), layer=31, texttype=0))
sram_4_16_1rw_tsmc65n_ts.add(gdstk.Label('gnd', (5.6,18.88), layer=31, texttype=0))
sram_4_16_1rw_tsmc65n_ts.add(gdstk.Label('gnd', (5.6,4.72), layer=31, texttype=0))
sram_4_16_1rw_tsmc65n_ts.add(gdstk.Label('gnd', (5.6,33.04), layer=31, texttype=0))
sram_4_16_1rw_tsmc65n_ts.add(gdstk.Label('gnd', (7.84,14.16), layer=31, texttype=0))
sram_4_16_1rw_tsmc65n_ts.add(gdstk.Label('gnd', (1.12,18.88), layer=31, texttype=0))
sram_4_16_1rw_tsmc65n_ts.add(gdstk.Label('gnd', (3.36,14.16), layer=31, texttype=0))
sram_4_16_1rw_tsmc65n_ts.add(gdstk.Label('gnd', (1.12,23.6), layer=31, texttype=0))
sram_4_16_1rw_tsmc65n_ts.add(gdstk.Label('gnd', (3.36,33.04), layer=31, texttype=0))
sram_4_16_1rw_tsmc65n_ts.add(gdstk.Label('gnd', (7.84,28.32), layer=31, texttype=0))
sram_4_16_1rw_tsmc65n_ts.add(gdstk.Label('gnd', (1.12,28.32), layer=31, texttype=0))
sram_4_16_1rw_tsmc65n_ts.add(gdstk.Label('gnd', (5.6,23.6), layer=31, texttype=0))
sram_4_16_1rw_tsmc65n_ts.add(gdstk.Label('gnd', (7.84,33.04), layer=31, texttype=0))
sram_4_16_1rw_tsmc65n_ts.add(gdstk.Label('gnd', (1.12,33.04), layer=31, texttype=0))
sram_4_16_1rw_tsmc65n_ts.add(gdstk.Label('gnd', (7.84,23.6), layer=31, texttype=0))
sram_4_16_1rw_tsmc65n_ts.add(gdstk.Label('gnd', (3.36,37.76), layer=31, texttype=0))
sram_4_16_1rw_tsmc65n_ts.add(gdstk.Label('gnd', (5.6,14.16), layer=31, texttype=0))
sram_4_16_1rw_tsmc65n_ts.add(gdstk.Label('gnd', (7.84,18.88), layer=31, texttype=0))
sram_4_16_1rw_tsmc65n_ts.add(gdstk.Label('gnd', (1.12,4.72), layer=31, texttype=0))
sram_4_16_1rw_tsmc65n_ts.add(gdstk.Label('gnd', (1.12,9.44), layer=31, texttype=0))

lib.write_gds('sram_4_16_1rw_tsmc65N_tsmc65N_bitcell_array.gds')
